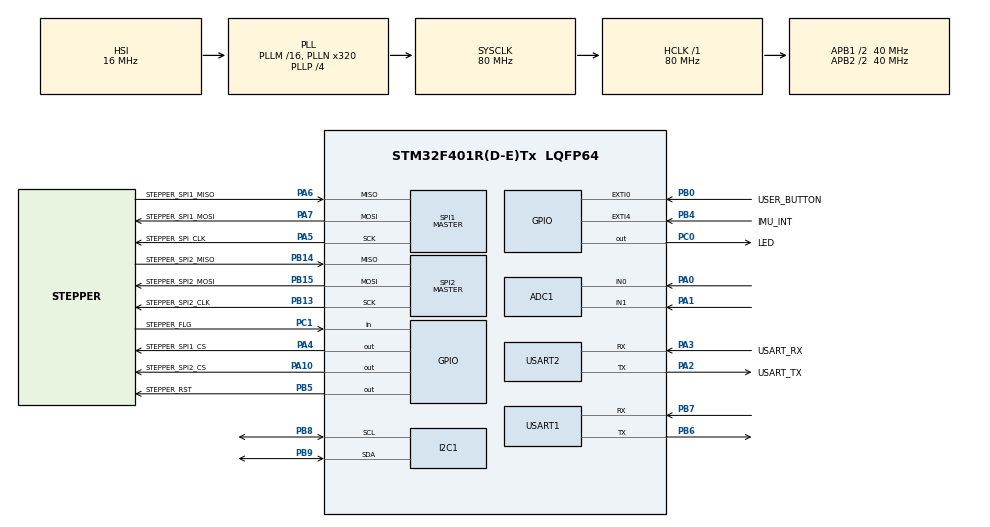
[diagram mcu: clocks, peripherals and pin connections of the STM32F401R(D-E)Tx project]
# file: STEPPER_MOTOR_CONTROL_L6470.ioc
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ADC1.Channel-1\#ChannelRegularConversion=ADC_CHANNEL_0
ADC1.Channel-2\#ChannelInjectedConversion=ADC_CHANNEL_0
ADC1.Channel-4\#ChannelInjectedConversion=ADC_CHANNEL_1
ADC1.Channel-6\#ChannelRegularConversion=ADC_CHANNEL_1
ADC1.ContinuousConvMode=ENABLE
ADC1.DMAContinuousRequests=ENABLE
ADC1.EOCSelection=ADC_EOC_SEQ_CONV
ADC1.InjNumberOfConversion=2
ADC1.InjectedOffset-2\#ChannelInjectedConversion=0
ADC1.InjectedOffset-4\#ChannelInjectedConversion=0
ADC1.InjectedRank-2\#ChannelInjectedConversion=1
ADC1.InjectedRank-4\#ChannelInjectedConversion=2
ADC1.NbrOfConversion=2
ADC1.NbrOfConversionFlag=1
ADC1.Rank-1\#ChannelRegularConversion=1
ADC1.Rank-6\#ChannelRegularConversion=2
ADC1.SamplingTime-1\#ChannelRegularConversion=ADC_SAMPLETIME_3CYCLES
ADC1.SamplingTime-2\#ChannelInjectedConversion=ADC_SAMPLETIME_3CYCLES
ADC1.SamplingTime-4\#ChannelInjectedConversion=ADC_SAMPLETIME_3CYCLES
ADC1.SamplingTime-6\#ChannelRegularConversion=ADC_SAMPLETIME_3CYCLES
ADC1.master=1
Dma.ADC1.4.Direction=DMA_PERIPH_TO_MEMORY
Dma.ADC1.4.FIFOMode=DMA_FIFOMODE_ENABLE
Dma.ADC1.4.FIFOThreshold=DMA_FIFO_THRESHOLD_FULL
Dma.ADC1.4.Instance=DMA2_Stream4
Dma.ADC1.4.MemBurst=DMA_MBURST_SINGLE
Dma.ADC1.4.MemDataAlignment=DMA_MDATAALIGN_HALFWORD
Dma.ADC1.4.MemInc=DMA_MINC_ENABLE
Dma.ADC1.4.Mode=DMA_CIRCULAR
Dma.ADC1.4.PeriphBurst=DMA_PBURST_SINGLE
Dma.ADC1.4.PeriphDataAlignment=DMA_PDATAALIGN_HALFWORD
Dma.ADC1.4.PeriphInc=DMA_PINC_DISABLE
Dma.ADC1.4.Priority=DMA_PRIORITY_HIGH
Dma.Request0=SPI1_RX
Dma.Request1=SPI1_TX
Dma.Request2=SPI2_RX
Dma.Request3=SPI2_TX
Dma.Request4=ADC1
Dma.SPI1_RX.0.Direction=DMA_PERIPH_TO_MEMORY
Dma.SPI1_RX.0.FIFOMode=DMA_FIFOMODE_DISABLE
Dma.SPI1_RX.0.Instance=DMA2_Stream0
Dma.SPI1_RX.0.MemDataAlignment=DMA_MDATAALIGN_BYTE
Dma.SPI1_RX.0.MemInc=DMA_MINC_ENABLE
Dma.SPI1_RX.0.Mode=DMA_NORMAL
Dma.SPI1_RX.0.PeriphDataAlignment=DMA_PDATAALIGN_BYTE
Dma.SPI1_RX.0.PeriphInc=DMA_PINC_DISABLE
Dma.SPI1_RX.0.Priority=DMA_PRIORITY_LOW
Dma.SPI1_TX.1.Direction=DMA_MEMORY_TO_PERIPH
Dma.SPI1_TX.1.FIFOMode=DMA_FIFOMODE_DISABLE
Dma.SPI1_TX.1.Instance=DMA2_Stream3
Dma.SPI1_TX.1.MemDataAlignment=DMA_MDATAALIGN_BYTE
Dma.SPI1_TX.1.MemInc=DMA_MINC_ENABLE
Dma.SPI1_TX.1.Mode=DMA_NORMAL
Dma.SPI1_TX.1.PeriphDataAlignment=DMA_PDATAALIGN_BYTE
Dma.SPI1_TX.1.PeriphInc=DMA_PINC_DISABLE
Dma.SPI1_TX.1.Priority=DMA_PRIORITY_LOW
Dma.SPI2_RX.2.Direction=DMA_PERIPH_TO_MEMORY
Dma.SPI2_RX.2.FIFOMode=DMA_FIFOMODE_DISABLE
Dma.SPI2_RX.2.Instance=DMA1_Stream3
Dma.SPI2_RX.2.MemDataAlignment=DMA_MDATAALIGN_BYTE
Dma.SPI2_RX.2.MemInc=DMA_MINC_ENABLE
Dma.SPI2_RX.2.Mode=DMA_NORMAL
Dma.SPI2_RX.2.PeriphDataAlignment=DMA_PDATAALIGN_BYTE
Dma.SPI2_RX.2.PeriphInc=DMA_PINC_DISABLE
Dma.SPI2_RX.2.Priority=DMA_PRIORITY_LOW
Dma.SPI2_TX.3.Direction=DMA_MEMORY_TO_PERIPH
Dma.SPI2_TX.3.FIFOMode=DMA_FIFOMODE_DISABLE
Dma.SPI2_TX.3.Instance=DMA1_Stream4
Dma.SPI2_TX.3.MemDataAlignment=DMA_MDATAALIGN_BYTE
Dma.SPI2_TX.3.MemInc=DMA_MINC_ENABLE
Dma.SPI2_TX.3.Mode=DMA_NORMAL
Dma.SPI2_TX.3.PeriphDataAlignment=DMA_PDATAALIGN_BYTE
Dma.SPI2_TX.3.PeriphInc=DMA_PINC_DISABLE
Dma.SPI2_TX.3.Priority=DMA_PRIORITY_LOW
I2C1.I2C_Mode=I2C_Standard
Mcu.Family=STM32F4
Mcu.Name=STM32F401R(D-E)Tx
Mcu.Package=LQFP64
Mcu.UserConstants=ENCODER_RESOLUTION,2399
NVIC.ADC_IRQn=true\:0\:0\:false\:false\:true\:true\:true\:true
NVIC.DMA1_Stream3_IRQn=true\:0\:0\:false\:false\:true\:false\:true\:true
NVIC.DMA1_Stream4_IRQn=true\:0\:0\:false\:false\:true\:false\:true\:true
NVIC.DMA2_Stream0_IRQn=true\:0\:0\:false\:false\:true\:false\:true\:true
NVIC.DMA2_Stream3_IRQn=true\:0\:0\:false\:false\:true\:false\:true\:true
NVIC.DMA2_Stream4_IRQn=true\:0\:0\:false\:false\:true\:false\:true\:true
NVIC.EXTI0_IRQn=true\:0\:0\:false\:false\:true\:true\:true\:true
NVIC.EXTI4_IRQn=true\:0\:0\:false\:false\:true\:true\:true\:true
NVIC.I2C1_EV_IRQn=true\:0\:0\:false\:false\:true\:true\:true\:true
NVIC.PriorityGroup=NVIC_PRIORITYGROUP_0
NVIC.SPI1_IRQn=true\:0\:0\:false\:false\:true\:true\:true\:true
NVIC.SPI2_IRQn=true\:0\:0\:false\:false\:true\:true\:true\:true
NVIC.USART2_IRQn=true\:0\:0\:false\:false\:true\:true\:true\:true
PA0-WKUP.Signal=ADCx_IN0
PA1.Signal=ADCx_IN1
PA10.GPIO_Label=STEPPER_SPI2_CS
PA10.Signal=GPIO_Output
PA13.GPIO_Label=TMS
PA13.Mode=Serial_Wire
PA13.Signal=SYS_JTMS-SWDIO
PA14.GPIO_Label=TCK
PA14.Mode=Serial_Wire
PA14.Signal=SYS_JTCK-SWCLK
PA2.GPIO_Label=USART_TX
PA2.GPIO_Mode=GPIO_MODE_AF_PP
PA2.GPIO_PuPd=GPIO_NOPULL
PA2.GPIO_Speed=GPIO_SPEED_FREQ_LOW
PA2.Mode=Asynchronous
PA2.Signal=USART2_TX
PA3.GPIO_Label=USART_RX
PA3.GPIO_Mode=GPIO_MODE_AF_PP
PA3.GPIO_PuPd=GPIO_NOPULL
PA3.GPIO_Speed=GPIO_SPEED_FREQ_LOW
PA3.Mode=Asynchronous
PA3.Signal=USART2_RX
PA4.GPIO_Label=STEPPER_SPI1_CS
PA4.Signal=GPIO_Output
PA5.GPIO_Label=STEPPER_SPI_CLK
PA5.Mode=Full_Duplex_Master
PA5.Signal=SPI1_SCK
PA6.GPIO_Label=STEPPER_SPI1_MISO
PA6.Mode=Full_Duplex_Master
PA6.Signal=SPI1_MISO
PA7.GPIO_Label=STEPPER_SPI1_MOSI
PA7.Mode=Full_Duplex_Master
PA7.Signal=SPI1_MOSI
PB0.GPIO_Label=USER_BUTTON
PB0.GPIO_ModeDefaultEXTI=GPIO_MODE_IT_RISING
PB0.GPIO_PuPd=GPIO_PULLDOWN
PB0.Signal=GPXTI0
PB13.GPIO_Label=STEPPER_SPI2_CLK
PB13.Mode=Full_Duplex_Master
PB13.Signal=SPI2_SCK
PB14.GPIO_Label=STEPPER_SPI2_MISO
PB14.Mode=Full_Duplex_Master
PB14.Signal=SPI2_MISO
PB15.GPIO_Label=STEPPER_SPI2_MOSI
PB15.Mode=Full_Duplex_Master
PB15.Signal=SPI2_MOSI
PB3.GPIO_Label=SWO
PB3.Signal=SYS_JTDO-SWO
PB4.GPIO_Label=IMU_INT
PB4.Signal=GPXTI4
PB5.GPIO_Label=STEPPER_RST
PB5.Signal=GPIO_Output
PB6.Mode=Asynchronous
PB6.Signal=USART1_TX
PB7.Mode=Asynchronous
PB7.Signal=USART1_RX
PB8.Mode=I2C
PB8.Signal=I2C1_SCL
PB9.Mode=I2C
PB9.Signal=I2C1_SDA
PC0.GPIO_Label=LED
PC0.PinState=GPIO_PIN_RESET
PC0.Signal=GPIO_Output
PC1.GPIO_Label=STEPPER_FLG
PC1.Signal=GPIO_Input
PC14-OSC32_IN.Signal=RCC_OSC32_IN
PC15-OSC32_OUT.Signal=RCC_OSC32_OUT
PH0\ -\ OSC_IN.Signal=RCC_OSC_IN
PH1\ -\ OSC_OUT.Signal=RCC_OSC_OUT
ProjectManager.HeapSize=0x200
ProjectManager.StackSize=0x400
ProjectManager.TargetToolchain=STM32CubeIDE
RCC.48MHZClocksFreq_Value=45714285.71428572
RCC.AHBFreq_Value=80000000
RCC.APB1CLKDivider=RCC_HCLK_DIV2
RCC.APB1Freq_Value=40000000
RCC.APB1TimFreq_Value=80000000
RCC.APB2CLKDivider=RCC_HCLK_DIV2
RCC.APB2Freq_Value=40000000
RCC.APB2TimFreq_Value=80000000
RCC.CortexFreq_Value=80000000
RCC.HCLKFreq_Value=80000000
RCC.HSE_VALUE=8000000
RCC.HSI_VALUE=16000000
RCC.LSE_VALUE=32768
RCC.PLLN=320
RCC.PLLP=RCC_PLLP_DIV4
RCC.PLLQ=7
RCC.SYSCLKFreq_VALUE=80000000
RCC.SYSCLKSource=RCC_SYSCLKSOURCE_PLLCLK
RCC.VCOOutputFreq_Value=320000000
SH.ADCx_IN0.0=ADC1_IN0,IN0
SH.ADCx_IN1.0=ADC1_IN1,IN1
SPI1.BaudRatePrescaler=SPI_BAUDRATEPRESCALER_16
SPI1.CLKPhase=SPI_PHASE_2EDGE
SPI1.CLKPolarity=SPI_POLARITY_HIGH
SPI1.Direction=SPI_DIRECTION_2LINES
SPI1.Mode=SPI_MODE_MASTER
SPI1.VirtualType=VM_MASTER
SPI2.BaudRatePrescaler=SPI_BAUDRATEPRESCALER_16
SPI2.CLKPhase=SPI_PHASE_2EDGE
SPI2.CLKPolarity=SPI_POLARITY_HIGH
SPI2.Direction=SPI_DIRECTION_2LINES
SPI2.Mode=SPI_MODE_MASTER
SPI2.VirtualType=VM_MASTER
USART1.VirtualMode=VM_ASYNC
USART2.VirtualMode=VM_ASYNC
board=NUCLEO-F401RE

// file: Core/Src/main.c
/* USER CODE BEGIN Header */
/**
  ******************************************************************************
  * @file           : main.c
  * @brief          : Main program body
  ******************************************************************************
  * @attention
  *
  * Copyright (c) 2024 Jake Price.
  * All rights reserved.

  *
  ******************************************************************************
  */

// ======================== NOTES ===========================//

// -> Orientation of robot is:
// -> +y to the front (side with battery plugs)
// -> +x clockwise 90 degrees from +y

// ==========================================================//

// Use speeds 0 - 10PI
// NOTE: 10 PI is the highest achievable speed with one motor (5rps)

// MASTER TODO:
// TODO: Implement DMA
// TODO: Replace all instances of pot with hall
// TODO: General codebase cleanup, go over all todos

// --------------------------------------------------- FROM MATLAB ------------------------------------------------------------ //
//%% System Parameters
//L = 0.8382; %% The threaded section of rod, 3 normal sections of rod, plu the bob section is 33 inches or about 0.8382m
//g = 9.81; %% Gravity
//M  = 1.775; %% the mass of the entire robot body with batteries and pendulum guard is 1.775 kg
//m_r = 0.06;  %% Each section of pendulum rod is 0.015 kg, se we are using 4 sections -> 0.060 kg
//m_b = 0.056; %% The mass of the bob is about 0.56kg
//%b = 0.1; %% WORKS
//b = 0.001;
//mu = 0.3; %% Coefficient of Friction for Omni Wheels

//%% PID gains
//%Kp = 6500; Kd = 150; Ki = 15; %% WORKS
//%% Kp = 40; Kd = 0; Ki = 5; 	 %% WORKS
//%% Kp = 30; Kd = 1; Ki = 5; 	 %% WORKS
//%% Kp = 21; Kd = 0; Ki = 2; 	 %% WORKS -- BEST
//Kp = 30; Kd = 0; Ki = 2; 		 %% WORKS -- BEST

// ---------------------------------------------------------------------------------------------------------------------------- //
/* USER CODE END Header */
#include "main.h"

/* USER CODE BEGIN Includes */
#include "l6470.h"
#include <stdio.h>
#include "stm32f4xx_it.h"
#include "stdint.h"
#include "stdbool.h"
#include "math.h"
#include "intfc_imu.h"
/* USER CODE END Includes */

/* USER CODE BEGIN PTD */

void SystemClock_Config(void);
static void MX_GPIO_Init(void);
static void MX_DMA_Init(void);
static void MX_SPI1_Init(void);
static void MX_SPI2_Init(void);
static void MX_USART2_UART_Init(void);
static void MX_ADC1_Init(void);
static void MX_USART1_UART_Init(void);
static void MX_I2C1_Init(void);
void forward_motion(void);
void backward_motion(void);
void left_motion(void);
void right_motion(void);
void l6470_get_param_chip_1(MotorSetTypedef* stepper_motor, uint8_t param, uint8_t length);
void l6470_get_param_chip_2(MotorSetTypedef* stepper_motor, uint8_t param, uint8_t length);
void l6470_sync_daisy_chain(MotorSetTypedef *stepper_motor);

/* USER CODE END PTD */

/* USER CODE BEGIN PD */

// TODO: Tune these PID parameters
#define K_P_X 				75.0f // 41.0f // Proportional constant for x-dir
#define K_P_Y 				75.0f // 41.0f // proportional constant for y-dir
#define K_I_X 				2.0f  //2.0f // 0.01f // Integral constant for x-dir
#define K_I_Y 				2.0f  // 2.0f //0.01f // Integral constant for y-dir
#define K_D_X 				0.0f  // 5.0f
#define K_D_Y 				0.0f  // 5.0f

// TODO: Tune the max vel
#define MAX_CART_VEL 		0.68f //0.525f // 0.9f  // m/s, tune for safety (v = rw => v m/s = (0.03m) * (10)*PI = 0.94 m/s)
#define MIN_CART_VEL 	   -0.68f // -0.525f //-0.9f

// TODO: Tune the max integral???
#define MAX_INTEGRAL  		4.5f // anti-windup cap on integral, tune
#define MIN_INTEGRAL 	   -4.5f

// TODO: TUNE the DEADBAND
  #define DEADBAND 	  		(0.25f * M_PI/180.0f)  // 0.5 degree for the dead band (no integral)
// #define DEADBAND 	  		(0.5f * M_PI/180.0f)  // 1.0 degree for the dead band (no integral)

// TODO: Tune this
#define CONTROL_LOOP_TIME			50 // 30 // 10 // 20

#define POT_FILTER_SAMPLE_TIME_MS	1
#define POT_AVG_WINDOW_SIZE			10 // Start with 10, then try 20

//////////////////////////////////////////////////////////////////////////////////

// ======================== SLIP FORCE ESTIMATION ======================== //
// Effective slip-related force loss:
// F_loss = M * (commanded_acceleration - measured_acceleration)

#define SLIP_EST_MASS_KG             1.778f
#define GRAVITY_MPS2                 9.80665f
#define IMU_ACCEL_COUNTS_PER_G       16384.0f

// Match the signs to your existing IMU test convention.
// Your old test code used xg = -(ax / 16384.0f), yg = (ay / 16384.0f).
#define IMU_X_SIGN                   (-1.0f)
#define IMU_Y_SIGN                   ( 1.0f)

// Measure these while the robot is sitting still and level.
// Biases are in signed g-units after applying IMU_X_SIGN and IMU_Y_SIGN.
#define IMU_ACCEL_X_BIAS_G           0.0f
#define IMU_ACCEL_Y_BIAS_G           0.0f

// 0.0 = no new data accepted, 1.0 = no filtering.
#define SLIP_ACCEL_FILTER_ALPHA      0.25f

// 50 ms loop = 20 samples/second.
// 256 samples gives about 12.8 seconds of data.
#define SLIP_LOG_SIZE                256

#define BUTTON_PRESSED_STATE         GPIO_PIN_SET
#define BUTTON_DEBOUNCE_MS           50
#define BUTTON_LONG_HOLD_MS          5000

#define FALL_ANGLE_RAD               (20.0f * M_PI / 180.0f)
#define SLIP_AUTO_STOP_ON_FALL       1

//////////////////////////////////////////////////////////////////

/* USER CODE END PD */

ADC_HandleTypeDef hadc1;
DMA_HandleTypeDef hdma_adc1;

I2C_HandleTypeDef hi2c1;

SPI_HandleTypeDef hspi1;
SPI_HandleTypeDef hspi2;
DMA_HandleTypeDef hdma_spi1_rx;
DMA_HandleTypeDef hdma_spi1_tx;
DMA_HandleTypeDef hdma_spi2_rx;
DMA_HandleTypeDef hdma_spi2_tx;

UART_HandleTypeDef huart1;
UART_HandleTypeDef huart2;

/* USER CODE BEGIN PV */

static uint32_t currentTime;  					// Get current system time
static uint32_t lastPressTime 		= 0; 		// Debounce for GPIO pushbutton
static bool buttonFlag 				= false;	// flag to START motors on button press interrupt
static bool stopNow 				= false;	// flag to SHUT OFF motors on button press interrupt
static bool prepareStop 			= false;	// Debounce for shutoff stopNow

float vel_temp_1[2];							// motor 2, 3
float vel_temp_2[2];							// motor 1 (second element, had to troubleshoot)
float pot_Y_voltage 				= 0.0f;     // Y POT VOLTAGE
float pot_X_voltage 				= 0.0f;		// X POT VOLTAGE

// JACOBIAN and INVERSE JACOBIAN for the transformation matrix mapping x and y to the three wheels (pi / 3) [120 deg] offset
const float J[3][3] 	= {{-1, 0.5, 0.5}, {0, 0.866, -0.866}, {-0.333, -0.333, -0.333}};
const float J_Inv[3][3] = {{0.667, 0, 1}, {-0.333, 0.577, 1}, {-0.333, -0.577, 1}};

uint16_t adc_buffer[2];  						// NOTE: adc_buffer[0] = Z-X pot, adc_buffer[1] = Z-Y pot
int16_t ax, ay, az;  							// IMU accel variables
int16_t wx, wy, wz;								// IMU gyro variables

typedef struct controlVariables 				// PID Control System Variables
{
	float prevCommandedCartVelocityX;
	float prevCommandedCartVelocityY;

	float curCommandedCartVelocityX;
	float curCommandedCartVelocityY;

	float prevThetaX;
	float prevThetaY;

	float curThetaX;
	float curThetaY;

	// Can also include Theta_dotX/Y for Derivative control

	float prevInputU_X;
	float prevInputU_Y;

	float curInputU_X;
	float curInputU_Y;

	float integralX;
	float integralY;

} controlVariables;

controlVariables myControlVariables = {0};

///////////////////////////////////////////////////////////////////

typedef struct slipEstimateVariables
{
    float cmdAccelX_mps2;
    float cmdAccelY_mps2;

    float imuAccelX_mps2;
    float imuAccelY_mps2;

    float filtImuAccelX_mps2;
    float filtImuAccelY_mps2;

    float slipAccelLossX_mps2;
    float slipAccelLossY_mps2;

    float slipForceLossX_N;
    float slipForceLossY_N;

    bool imuValid;
    uint32_t sampleCount;

} slipEstimateVariables;

typedef struct slipLogSample
{
    uint32_t time_ms;

    float dt_s;

    float thetaX_rad;
    float thetaY_rad;

    float cmdVelX_mps;
    float cmdVelY_mps;

    float cmdAccelX_mps2;
    float cmdAccelY_mps2;

    float imuAccelX_mps2;
    float imuAccelY_mps2;

    float slipAccelLossX_mps2;
    float slipAccelLossY_mps2;

    float slipForceLossX_N;
    float slipForceLossY_N;

} slipLogSample;

slipEstimateVariables mySlipEstimate = {0};

static slipLogSample slipLog[SLIP_LOG_SIZE] = {0};
static uint16_t slipLogIndex = 0;
static bool slipLogWrapped = false;
static bool slipLoggingActive = false;
static bool slipLogReadyToDump = false;

static bool userButtonWasPressed = false;
static bool userButtonLongHandled = false;
static uint32_t userButtonPressStart_ms = 0;

/////////////////////////////////////////////////////////

MotorSetTypedef motor_set_1 = { // TODO: Finish initializing the structs

		.identifier     = 1,
		.gpio_rst_port  = STEPPER_RST_GPIO_Port,
		.gpio_rst_pin 	= STEPPER_RST_Pin,
		.gpio_cs_port 	= STEPPER_SPI1_CS_GPIO_Port,
		.gpio_cs_pin 	= STEPPER_SPI1_CS_Pin,
		.hspi_l6470 	= &hspi1,
		.num_motors 	= 2,
		.spi_dma_busy 	= 0,

};

MotorSetTypedef motor_set_2 = {

		.identifier     = 2,
		.gpio_rst_port 	= STEPPER_RST_GPIO_Port,
		.gpio_rst_pin 	= STEPPER_RST_Pin,
		.gpio_cs_port 	= STEPPER_SPI2_CS_GPIO_Port,
		.gpio_cs_pin 	= STEPPER_SPI2_CS_Pin,
		.hspi_l6470 	= &hspi2,
		.num_motors		= 2, // This has to be two in order to get the motor 1 to work
		.spi_dma_busy 	= 0,

};

float scale 			= 0.0f;
float theta_dotX 		= 0.0f;
float theta_dotY 		= 0.0f;
float dt 				= 0.0f;

uint16_t  m1_status = 0; // L6470 #1
uint16_t  m2_status = 0; // L6470 #2
uint16_t  m3_status = 0; // L6470 #3
uint16_t  m4_status = 0; // L6470 #4

static uint32_t last = 0;
static uint32_t now  = 0;

static float pot_x_buf[POT_AVG_WINDOW_SIZE] = {0};
static float pot_y_buf[POT_AVG_WINDOW_SIZE] = {0};

static float pot_x_sum 				 		= 0.0f;
static float pot_y_sum 				 		= 0.0f;

static uint16_t pot_buf_index 		 		= 0;
static uint16_t pot_sample_count 	 		= 0;

static bool pot_filter_wrapped 		 		= false;
static uint32_t pot_filter_overwrite_count  = 0;

static uint32_t last_pot_sample_time = 0;

/* USER CODE END PV */

void SystemClock_Config(void);
static void MX_GPIO_Init(void);
static void MX_DMA_Init(void);
static void MX_SPI1_Init(void);
static void MX_SPI2_Init(void);
static void MX_USART2_UART_Init(void);
static void MX_ADC1_Init(void);
static void MX_USART1_UART_Init(void);
static void MX_I2C1_Init(void);

/* USER CODE BEGIN 0 */

// Redirect printf() to USART1
int __io_putchar(int ch) // Use UART 1 for FTDI cable
{
    HAL_UART_Transmit(&huart1, (uint8_t *)&ch, 1, HAL_MAX_DELAY);
    return ch;
}

void HAL_GPIO_EXTI_Callback(uint16_t GPIO_Pin)
{
    if(GPIO_Pin == USER_BUTTON_Pin)
    {
        currentTime = HAL_GetTick();  // Get current system time

        // Check if the debounce period has passed
        if((currentTime - lastPressTime) >= DEBOUNCE_DELAY)
        {
            lastPressTime = currentTime; // Update last press time

            if(prepareStop)
            {
            	stopNow = true;
            }

            prepareStop = true;
            buttonFlag = buttonFlag ^ 1;
        }
    }
}

// TODO: Do we use this?
void HAL_SPI_TxRxCpltCallback(SPI_HandleTypeDef * hspi)
{
	if(hspi == motor_set_1.hspi_l6470)
	{
		//    	if(PRINT_OUTPUT_ENABLED)
		//    	{
		// 			printf("MOTOR SET 1 SPI COMPLETE\n\r");
		//		}
	}

	else if(hspi == motor_set_2.hspi_l6470)
	{
//    	if(PRINT_OUTPUT_ENABLED)
//    	{
    		//printf("MOTOR SET 2 SPI COMPLETE\n\r");
//    	}
	}
}

void omni_drive(float Vx, float Vy, float omega)
{

	float V_body[3] 	= {Vx, Vy, omega}; 	// Body velocities
	float v_wheel[3] 	= {0}; 				// Wheel linear velocities
	float w[3] 			= {0}; 				// Wheel angular velocities

	// Matrix multiplication
	for(int i = 0; i < 3; i++)
	{
		v_wheel[i] = 0.0f;
		for(int j = 0; j < 3; j++)
		{
			v_wheel[i] += J_Inv[i][j] * V_body[j];
		}
	}

	// --- Linear -> Angular velocities ---
	for(int j = 0; j < 3; j++)
	{
		w[j] = v_wheel[j] / WHEEL_RADIUS;
	}

	// Wheel mapping to motor sets
	float motor_set_1_speed[2] = {w[1], w[2]}; // Motor 3 and motor 1 on motor_set_1
	float motor_set_2_speed[2] = {w[0], 0};    // motor 2 on motor_set_2

	// TODO: Place BUSY check here
	// Transmit velocities to motor driver
	l6470_set_vel(&motor_set_1, motor_set_1_speed);
	l6470_set_vel(&motor_set_2, motor_set_2_speed);

}

// Map voltages to degrees using linearization
static inline float map_Y_VoltageToAngle(float v_centered)
{
	return v_centered * Y_RAD_PER_VOLT;
}

// Map voltages to degrees using linearization
static inline float map_X_VoltageToAngle(float v_centered)
{
	return v_centered * X_RAD_PER_VOLT;
}

static inline void update_pot_background_average(void)
{
	uint32_t t = HAL_GetTick();

	if((t - last_pot_sample_time) >= POT_FILTER_SAMPLE_TIME_MS)
	{
		last_pot_sample_time = t;

		float raw_x = (3.3f * adc_buffer[1]) / 4095.0f;
		float raw_y = (3.3f * adc_buffer[0]) / 4095.0f;

		// If buffer is full, remove oldest sample from sum before overwriting
		if(pot_sample_count >= POT_AVG_WINDOW_SIZE)
		{
			// remove oldest sample from sum
			pot_x_sum -= pot_x_buf[pot_buf_index];
			pot_y_sum -= pot_y_buf[pot_buf_index];

			pot_filter_wrapped = true;
			pot_filter_overwrite_count++;

		}
		else
		{
			pot_sample_count++;
		}

		// store newest sample in buffer
		pot_x_buf[pot_buf_index] = raw_x;
		pot_y_buf[pot_buf_index] = raw_y;

		// Add newest sample to sum
		pot_x_sum += raw_x;
		pot_y_sum += raw_y;

		pot_buf_index++;

		if(pot_buf_index >= POT_AVG_WINDOW_SIZE)
		{
			pot_buf_index = 0;
		}
	}
}

/* USER CODE END 0 */

int main(void)
{

  /* MCU Configuration--------------------------------------------------------*/

  /* Reset of all peripherals, Initializes the Flash interface and the Systick. */
  HAL_Init();

  /* Configure the system clock */
  SystemClock_Config();

  /* Initialize all configured peripherals */
  MX_GPIO_Init();
  MX_DMA_Init();
  MX_SPI1_Init();
  MX_SPI2_Init();
  MX_USART2_UART_Init();
  MX_ADC1_Init();
  MX_USART1_UART_Init();
  MX_I2C1_Init();
  /* USER CODE BEGIN 2 */

	 // ======================================= ADC_DMA_INIT ============================== //
  	 HAL_ADC_Start_DMA(&hadc1, (uint32_t*)adc_buffer, 2);

  	 // ======================================= IMU_INIT ============================== //
	 uint8_t retVal = initializeIMU();
	 if(retVal == HAL_OK)
	 {
		    if(PRINT_OUTPUT_ENABLED)
		    {
				 printf("\n\rIMU initialized!\n\r");
		    }
	 }
	 else
	 {
		    if(PRINT_OUTPUT_ENABLED)
		    {
				 printf("IMU FAILED to initialize, retVal: %d\n\r", retVal);
		    }
	 }

	 last = HAL_GetTick();

	 // ======================================= L6470_INIT ============================== //

	 // Reset L6470s (shared line)
	 HAL_GPIO_WritePin(STEPPER_RST_GPIO_Port, STEPPER_RST_Pin, GPIO_PIN_RESET);
	 HAL_Delay(100);
	 HAL_GPIO_WritePin(STEPPER_RST_GPIO_Port, STEPPER_RST_Pin, GPIO_PIN_SET);
	 HAL_Delay(100);

	 HAL_Delay(1000);

  	 // ***NOW*** do sync + init
  	 l6470_sync_daisy_chain(&motor_set_1);
  	 HAL_Delay(100);
  	 l6470_sync_daisy_chain(&motor_set_2);
  	 HAL_Delay(100);

  	 uint16_t m1_status_1, m2_status_1;
  	 l6470_get_status(&motor_set_1, &m1_status_1, &m2_status_1);
  	 HAL_Delay(100);

  	 uint16_t m1_status_2, m2_status_2;
  	 l6470_get_status(&motor_set_2, &m1_status_2, &m2_status_2);
  	 HAL_Delay(100);

  	 L6470_Init_IHM02A1_1(&motor_set_1);
  	 HAL_Delay(100);

  	 L6470_Init_IHM02A1_2(&motor_set_2);
  	 HAL_Delay(100);

  	 // TODO: Check to see if step loss is the issue
  	 uint8_t alarm = 0xCF; // disable STEP_LOSS_A/B alarms
  	 l6470_set_param_chip_1(&motor_set_1, ALARM_EN, &alarm, 1);
  	 l6470_set_param_chip_1(&motor_set_2, ALARM_EN, &alarm, 1);

 	 l6470_dump_params_chip1(&motor_set_1);
 	 HAL_Delay(100);

 	 l6470_dump_params_chip2(&motor_set_2);
  	 HAL_Delay(100);

   	 l6470_get_status(&motor_set_1, &m1_status_1, &m2_status_1);
   	 HAL_Delay(100);

  	 l6470_get_status(&motor_set_2, &m1_status_2, &m2_status_2);
  	 HAL_Delay(100);

  	 //  	// ======================================== MOTOR TEST ================================ //
// 	// Wheel mapping to motor sets
// 	float motor_set_1_speed[2] = {3.0f, 3.0f}; // Motor 3 and motor 1 on motor_set_1
//// 	float motor_set_2_speed[2] = {0, w[0]};    // motor 2 on motor_set_2
//
// 	// TODO: Place BUSY check here
// 	// Transmit velocities to motor driver
// 	l6470_set_vel(&motor_set_1, motor_set_1_speed);
//
// 	HAL_Delay(3000);
//
//	l6470_soft_stop(&motor_set_1);
//	l6470_Hard_Stop(&motor_set_1);

// 	l6470_set_vel(&motor_set_2, motor_set_2_speed);

  	 //================================================================================================= //

  /* USER CODE END 2 */

  /* Infinite loop */
  /* USER CODE BEGIN WHILE */
  while (1)
  {

	  now = HAL_GetTick();

	  update_pot_background_average();

	  if(stopNow)
	  {

		  stopNow = false;

		  l6470_soft_stop(&motor_set_1);
		  l6470_soft_stop(&motor_set_2);

		  l6470_Hard_Stop(&motor_set_1);
		  l6470_Hard_Stop(&motor_set_2);

		  vel_temp_1[0]  								= 0.0f;	// motor 2, 3
		  vel_temp_1[1]  								= 0.0f;	// motor 2, 3
		  vel_temp_2[0]  								= 0.0f;	// motor 1 (second element, had to troubleshoot)
		  vel_temp_2[1]  								= 0.0f;	// motor 1 (second element, had to troubleshoot)
		  pot_Y_voltage  								= 0.0f; // Y POT VOLTAGE
		  pot_X_voltage  								= 0.0f; // X POT VOLTAGE

		  myControlVariables.curCommandedCartVelocityX 	= 0;
		  myControlVariables.curCommandedCartVelocityY 	= 0;
		  myControlVariables.curInputU_X 				= 0.0f;
		  myControlVariables.curInputU_Y 				= 0.0f;
		  myControlVariables.curThetaX 					= 0.0f;
		  myControlVariables.curThetaY 					= 0.0f;
		  myControlVariables.integralX 					= 0.0f;
		  myControlVariables.integralY 					= 0.0f;
		  myControlVariables.prevCommandedCartVelocityX = 0.0f;
		  myControlVariables.prevCommandedCartVelocityY = 0.0f;
		  myControlVariables.prevInputU_X 				= 0.0f;
		  myControlVariables.prevInputU_Y 				= 0.0f;
		  myControlVariables.prevThetaX					= 0.0f;
		  myControlVariables.prevThetaY 				= 0.0f;

	  }

	  if(buttonFlag == true)
	  {

		  if((now - last) >= CONTROL_LOOP_TIME)
		  {

			  dt = (now - last) * 0.001f;
			  last = now;

			  //////////////////////////////////////////////////////////////////////

//			  if(IMU_ReadAccel(&ax, &ay, &az) == 0)
//			  {
//				  // Have to multiply ax by -1 to transform coordinate system to be equal to the hall effect sensor joystick orientation
//				  float xg = -(ax / 16384.0f); // 0.055f is the offset to
//
//				  // TODO: May have to add 0.017 instead of subtracting
//				  float yg = (ay / 16384.0f); // 0.017f is the offset to make y level
//				  float zg = -(az / 16384.0f);
//
////				  printf("\n\r\n\rAX: %.2f,\n\r AY: %.2f,\n\r AZ %.2f\n\r", xg, yg, zg);
////				  HAL_Delay(200);
//			  }

//			  if(IMU_ReadGyro(&wx, &wy, &wz) == 0)
//			  {
//				  float x_dps = wx / 131.0f;
//				  float y_dps = wy / 131.0f;
//				  float z_dps = wz / 131.0f;
//
//				  printf("WX: %.2f, WY: %.2f, WZ %.2f\n\r", x_dps, y_dps, z_dps);
//				  HAL_Delay(5);
//			  }

			  /////////////////////////////////////////////////////////////////////

			  if(pot_sample_count > 0)
			  {
				  pot_X_voltage = pot_x_sum / pot_sample_count;
				  pot_Y_voltage = pot_y_sum / pot_sample_count;
			  }
			  else
			  {
				  pot_X_voltage = (3.3f * adc_buffer[1]) / 4095.0f;
				  pot_Y_voltage = (3.3f * adc_buffer[0]) / 4095.0f;
			  }
//			  pot_Y_voltage = (3.3f * adc_buffer[0]) / 4095.0f; // Y - axis (forward/backward) angle
//			  pot_X_voltage = (3.3f * adc_buffer[1]) / 4095.0f; // X -Axis (Left/Right) angle
////
//			  printf("(RAW: VOLTAGE): Z-X: %.3f V\n\r", pot_X_voltage);
//			  printf("(RAW: VOLTAGE): Z-Y: %.3f V\n\r", pot_Y_voltage);
//			  HAL_Delay(100);

			  pot_X_voltage -= POT_X_CENTER_V; // offset
			  pot_Y_voltage -= POT_Y_CENTER_V; // offset

//			  printf("(AFTER: VOLTAGE): Z-X: %.3f V\n\r", pot_X_voltage);
//			  printf("(AFTER: VOLTAGE): Z-Y: %.3f V\n\r", pot_Y_voltage);

			  // Parse X and Y voltages and convert them to angles asymmetrically, then to x,y values, then to Vx, Vy valuse
			  myControlVariables.curThetaX = map_X_VoltageToAngle(pot_X_voltage);
			  myControlVariables.curThetaY = map_Y_VoltageToAngle(pot_Y_voltage);

			  ////////////////////////////////////////////////////////////////////////////////////////////////////////////////////////////////////////////////////////////////
			  myControlVariables.curThetaY = -myControlVariables.curThetaY; // Need to take negative of angle due to orientation. Or can change the rotation matrix ???
			  ////////////////////////////////////////////////////////////////////////////////////////////////////////////////////////////////////////////////////////////////

//			  printf("(ANGLE): Z-X: %.3f radians\n\r", myControlVariables.curThetaX);
//			  printf("(ANGLE): Z-Y: %.3f radians\n\r", myControlVariables.curThetaY);

//			  float angle_deg_x = myControlVariables.curThetaX * 180.0f / M_PI;
//			  float angle_deg_y = myControlVariables.curThetaY * 180.0f / M_PI;
//
//			  printf("(ANGLE): Z-X: %.3f degrees\n\r", angle_deg_x);
//			  printf("(ANGLE): Z-Y: %.3f degrees\n\r", angle_deg_y);
//
//			  HAL_Delay(200);

			  // Deadband
			  if(fabsf(myControlVariables.curThetaX) < DEADBAND)
			  {
				  myControlVariables.curThetaX = 0.0f;
				  myControlVariables.integralX = 0.0f;
			  }
			  if(fabsf(myControlVariables.curThetaY) < DEADBAND)
			  {
				  myControlVariables.curThetaY = 0.0f;
				  myControlVariables.integralY = 0.0f;
			  }

			  // --- Integral Control ---
			  // Compute the integral / accumulation of error
			  myControlVariables.integralX += 0.5 * (myControlVariables.curThetaX + myControlVariables.prevThetaX) * dt;
			  myControlVariables.integralY += 0.5 * (myControlVariables.curThetaY + myControlVariables.prevThetaY) * dt;

			  // anti-windup: clamp integrals  --> TODO: Later implement: if (velocity saturated) do not integrate
			  if (myControlVariables.integralX > MAX_INTEGRAL) myControlVariables.integralX = MAX_INTEGRAL;
			  if (myControlVariables.integralX < MIN_INTEGRAL) myControlVariables.integralX = MIN_INTEGRAL;
			  if (myControlVariables.integralY > MAX_INTEGRAL) myControlVariables.integralY = MAX_INTEGRAL;
			  if (myControlVariables.integralY < MIN_INTEGRAL) myControlVariables.integralY = MIN_INTEGRAL;

			  // --- Derivative Control ---
			  theta_dotX = (myControlVariables.curThetaX - myControlVariables.prevThetaX) / dt;
			  theta_dotY = (myControlVariables.curThetaY - myControlVariables.prevThetaY) / dt;

			  // u = Kp * cur_theta + Ki * 0.5 * [cur_theta + prev_theta] * Control_Loop_Time ---> the 0.5 factor in the second term comes from the trapezoid rule
			  myControlVariables.curInputU_X = (K_P_X * myControlVariables.curThetaX) + (K_I_X * myControlVariables.integralX) + (K_D_X * theta_dotX); // Use negative to oppose the tilt
			  myControlVariables.curInputU_Y = (K_P_Y * myControlVariables.curThetaY) + (K_I_Y * myControlVariables.integralY) + (K_D_Y * theta_dotY); // Use negative to oppose the tilt

			  // Accel = (V2 - V1) / (CONTROL_LOOP_TIME) ---> V2 = Accel * CONTROL_LOOP_TIME + V1

			  myControlVariables.curCommandedCartVelocityX = myControlVariables.curInputU_X;
			  myControlVariables.curCommandedCartVelocityY = myControlVariables.curInputU_Y;

//			  myControlVariables.curCommandedCartVelocityX = (myControlVariables.curInputU_X * dt) + myControlVariables.prevCommandedCartVelocityX;
//			  myControlVariables.curCommandedCartVelocityY = (myControlVariables.curInputU_Y * dt) + myControlVariables.prevCommandedCartVelocityY;

			  // --- clamp velocities to safe range ---
			  if (myControlVariables.curCommandedCartVelocityX > MAX_CART_VEL) myControlVariables.curCommandedCartVelocityX = MAX_CART_VEL;
			  if (myControlVariables.curCommandedCartVelocityX < MIN_CART_VEL) myControlVariables.curCommandedCartVelocityX = MIN_CART_VEL;
			  if (myControlVariables.curCommandedCartVelocityY > MAX_CART_VEL) myControlVariables.curCommandedCartVelocityY = MAX_CART_VEL;
			  if (myControlVariables.curCommandedCartVelocityY < MIN_CART_VEL) myControlVariables.curCommandedCartVelocityY = MIN_CART_VEL;

			  // Send Commands to Motors
			  omni_drive(myControlVariables.curCommandedCartVelocityX, myControlVariables.curCommandedCartVelocityY, 0.0f);

			  // Update previous values
			  myControlVariables.prevThetaX = myControlVariables.curThetaX;
			  myControlVariables.prevThetaY = myControlVariables.curThetaY;

			  // TODO: Do we need to save the previous inputs U?
			  myControlVariables.prevInputU_X = myControlVariables.curInputU_X;
			  myControlVariables.prevInputU_Y = myControlVariables.curInputU_Y;

			  myControlVariables.prevCommandedCartVelocityX = myControlVariables.curCommandedCartVelocityX;
			  myControlVariables.prevCommandedCartVelocityY = myControlVariables.curCommandedCartVelocityY;

		  }
	  }

    /* USER CODE END WHILE */

  }
}

void SystemClock_Config(void)
{
  RCC_OscInitTypeDef RCC_OscInitStruct = {0};
  RCC_ClkInitTypeDef RCC_ClkInitStruct = {0};

  /** Configure the main internal regulator output voltage
  */
  __HAL_RCC_PWR_CLK_ENABLE();
  __HAL_PWR_VOLTAGESCALING_CONFIG(PWR_REGULATOR_VOLTAGE_SCALE2);

  /** Initializes the RCC Oscillators according to the specified parameters
  * in the RCC_OscInitTypeDef structure.
  */
  RCC_OscInitStruct.OscillatorType = RCC_OSCILLATORTYPE_HSI;
  RCC_OscInitStruct.HSIState = RCC_HSI_ON;
  RCC_OscInitStruct.HSICalibrationValue = RCC_HSICALIBRATION_DEFAULT;
  RCC_OscInitStruct.PLL.PLLState = RCC_PLL_ON;
  RCC_OscInitStruct.PLL.PLLSource = RCC_PLLSOURCE_HSI;
  RCC_OscInitStruct.PLL.PLLM = 16;
  RCC_OscInitStruct.PLL.PLLN = 320;
  RCC_OscInitStruct.PLL.PLLP = RCC_PLLP_DIV4;
  RCC_OscInitStruct.PLL.PLLQ = 7;
  if (HAL_RCC_OscConfig(&RCC_OscInitStruct) != HAL_OK)
  {
    Error_Handler();
  }

  /** Initializes the CPU, AHB and APB buses clocks
  */
  RCC_ClkInitStruct.ClockType = RCC_CLOCKTYPE_HCLK|RCC_CLOCKTYPE_SYSCLK
                              |RCC_CLOCKTYPE_PCLK1|RCC_CLOCKTYPE_PCLK2;
  RCC_ClkInitStruct.SYSCLKSource = RCC_SYSCLKSOURCE_PLLCLK;
  RCC_ClkInitStruct.AHBCLKDivider = RCC_SYSCLK_DIV1;
  RCC_ClkInitStruct.APB1CLKDivider = RCC_HCLK_DIV2;
  RCC_ClkInitStruct.APB2CLKDivider = RCC_HCLK_DIV2;

  if (HAL_RCC_ClockConfig(&RCC_ClkInitStruct, FLASH_LATENCY_2) != HAL_OK)
  {
    Error_Handler();
  }
}

static void MX_ADC1_Init(void)
{

  ADC_ChannelConfTypeDef sConfig = {0};
  ADC_InjectionConfTypeDef sConfigInjected = {0};

  /** Configure the global features of the ADC (Clock, Resolution, Data Alignment and number of conversion)
  */
  hadc1.Instance = ADC1;
  hadc1.Init.ClockPrescaler = ADC_CLOCK_SYNC_PCLK_DIV2;
  hadc1.Init.Resolution = ADC_RESOLUTION_12B;
  hadc1.Init.ScanConvMode = ENABLE;
  hadc1.Init.ContinuousConvMode = ENABLE;
  hadc1.Init.DiscontinuousConvMode = DISABLE;
  hadc1.Init.ExternalTrigConvEdge = ADC_EXTERNALTRIGCONVEDGE_NONE;
  hadc1.Init.ExternalTrigConv = ADC_SOFTWARE_START;
  hadc1.Init.DataAlign = ADC_DATAALIGN_RIGHT;
  hadc1.Init.NbrOfConversion = 2;
  hadc1.Init.DMAContinuousRequests = ENABLE;
  hadc1.Init.EOCSelection = ADC_EOC_SEQ_CONV;
  if (HAL_ADC_Init(&hadc1) != HAL_OK)
  {
    Error_Handler();
  }

  /** Configure for the selected ADC regular channel its corresponding rank in the sequencer and its sample time.
  */
  sConfig.Channel = ADC_CHANNEL_0;
  sConfig.Rank = 1;
  sConfig.SamplingTime = ADC_SAMPLETIME_3CYCLES;
  if (HAL_ADC_ConfigChannel(&hadc1, &sConfig) != HAL_OK)
  {
    Error_Handler();
  }

  /** Configure for the selected ADC regular channel its corresponding rank in the sequencer and its sample time.
  */
  sConfig.Channel = ADC_CHANNEL_1;
  sConfig.Rank = 2;
  if (HAL_ADC_ConfigChannel(&hadc1, &sConfig) != HAL_OK)
  {
    Error_Handler();
  }

  /** Configures for the selected ADC injected channel its corresponding rank in the sequencer and its sample time
  */
  sConfigInjected.InjectedChannel = ADC_CHANNEL_0;
  sConfigInjected.InjectedRank = 1;
  sConfigInjected.InjectedNbrOfConversion = 2;
  sConfigInjected.InjectedSamplingTime = ADC_SAMPLETIME_3CYCLES;
  sConfigInjected.ExternalTrigInjecConvEdge = ADC_EXTERNALTRIGINJECCONVEDGE_NONE;
  sConfigInjected.ExternalTrigInjecConv = ADC_INJECTED_SOFTWARE_START;
  sConfigInjected.AutoInjectedConv = DISABLE;
  sConfigInjected.InjectedDiscontinuousConvMode = DISABLE;
  sConfigInjected.InjectedOffset = 0;
  if (HAL_ADCEx_InjectedConfigChannel(&hadc1, &sConfigInjected) != HAL_OK)
  {
    Error_Handler();
  }

  /** Configures for the selected ADC injected channel its corresponding rank in the sequencer and its sample time
  */
  sConfigInjected.InjectedChannel = ADC_CHANNEL_1;
  sConfigInjected.InjectedRank = 2;
  if (HAL_ADCEx_InjectedConfigChannel(&hadc1, &sConfigInjected) != HAL_OK)
  {
    Error_Handler();
  }

}

static void MX_I2C1_Init(void)
{

  hi2c1.Instance = I2C1;
  hi2c1.Init.ClockSpeed = 100000;
  hi2c1.Init.DutyCycle = I2C_DUTYCYCLE_2;
  hi2c1.Init.OwnAddress1 = 0;
  hi2c1.Init.AddressingMode = I2C_ADDRESSINGMODE_7BIT;
  hi2c1.Init.DualAddressMode = I2C_DUALADDRESS_DISABLE;
  hi2c1.Init.OwnAddress2 = 0;
  hi2c1.Init.GeneralCallMode = I2C_GENERALCALL_DISABLE;
  hi2c1.Init.NoStretchMode = I2C_NOSTRETCH_DISABLE;
  if (HAL_I2C_Init(&hi2c1) != HAL_OK)
  {
    Error_Handler();
  }

}

static void MX_SPI1_Init(void)
{

  /* SPI1 parameter configuration*/
  hspi1.Instance = SPI1;
  hspi1.Init.Mode = SPI_MODE_MASTER;
  hspi1.Init.Direction = SPI_DIRECTION_2LINES;
  hspi1.Init.DataSize = SPI_DATASIZE_8BIT;
  hspi1.Init.CLKPolarity = SPI_POLARITY_HIGH;
  hspi1.Init.CLKPhase = SPI_PHASE_2EDGE;
  hspi1.Init.NSS = SPI_NSS_SOFT;
  hspi1.Init.BaudRatePrescaler = SPI_BAUDRATEPRESCALER_16;
  hspi1.Init.FirstBit = SPI_FIRSTBIT_MSB;
  hspi1.Init.TIMode = SPI_TIMODE_DISABLE;
  hspi1.Init.CRCCalculation = SPI_CRCCALCULATION_DISABLE;
  hspi1.Init.CRCPolynomial = 10;
  if (HAL_SPI_Init(&hspi1) != HAL_OK)
  {
    Error_Handler();
  }

}

static void MX_SPI2_Init(void)
{

  /* SPI2 parameter configuration*/
  hspi2.Instance = SPI2;
  hspi2.Init.Mode = SPI_MODE_MASTER;
  hspi2.Init.Direction = SPI_DIRECTION_2LINES;
  hspi2.Init.DataSize = SPI_DATASIZE_8BIT;
  hspi2.Init.CLKPolarity = SPI_POLARITY_HIGH;
  hspi2.Init.CLKPhase = SPI_PHASE_2EDGE;
  hspi2.Init.NSS = SPI_NSS_SOFT;
  hspi2.Init.BaudRatePrescaler = SPI_BAUDRATEPRESCALER_16;
  hspi2.Init.FirstBit = SPI_FIRSTBIT_MSB;
  hspi2.Init.TIMode = SPI_TIMODE_DISABLE;
  hspi2.Init.CRCCalculation = SPI_CRCCALCULATION_DISABLE;
  hspi2.Init.CRCPolynomial = 10;
  if (HAL_SPI_Init(&hspi2) != HAL_OK)
  {
    Error_Handler();
  }

}

static void MX_USART1_UART_Init(void)
{

  huart1.Instance = USART1;
  huart1.Init.BaudRate = 115200;
  huart1.Init.WordLength = UART_WORDLENGTH_8B;
  huart1.Init.StopBits = UART_STOPBITS_1;
  huart1.Init.Parity = UART_PARITY_NONE;
  huart1.Init.Mode = UART_MODE_TX_RX;
  huart1.Init.HwFlowCtl = UART_HWCONTROL_NONE;
  huart1.Init.OverSampling = UART_OVERSAMPLING_16;
  if (HAL_UART_Init(&huart1) != HAL_OK)
  {
    Error_Handler();
  }

}

static void MX_USART2_UART_Init(void)
{

  huart2.Instance = USART2;
  huart2.Init.BaudRate = 115200;
  huart2.Init.WordLength = UART_WORDLENGTH_8B;
  huart2.Init.StopBits = UART_STOPBITS_1;
  huart2.Init.Parity = UART_PARITY_NONE;
  huart2.Init.Mode = UART_MODE_TX_RX;
  huart2.Init.HwFlowCtl = UART_HWCONTROL_NONE;
  huart2.Init.OverSampling = UART_OVERSAMPLING_16;
  if (HAL_UART_Init(&huart2) != HAL_OK)
  {
    Error_Handler();
  }

}

static void MX_DMA_Init(void)
{

  /* DMA controller clock enable */
  __HAL_RCC_DMA2_CLK_ENABLE();
  __HAL_RCC_DMA1_CLK_ENABLE();

  /* DMA interrupt init */
  /* DMA1_Stream3_IRQn interrupt configuration */
  HAL_NVIC_SetPriority(DMA1_Stream3_IRQn, 0, 0);
  HAL_NVIC_EnableIRQ(DMA1_Stream3_IRQn);
  /* DMA1_Stream4_IRQn interrupt configuration */
  HAL_NVIC_SetPriority(DMA1_Stream4_IRQn, 0, 0);
  HAL_NVIC_EnableIRQ(DMA1_Stream4_IRQn);
  /* DMA2_Stream0_IRQn interrupt configuration */
  HAL_NVIC_SetPriority(DMA2_Stream0_IRQn, 0, 0);
  HAL_NVIC_EnableIRQ(DMA2_Stream0_IRQn);
  /* DMA2_Stream3_IRQn interrupt configuration */
  HAL_NVIC_SetPriority(DMA2_Stream3_IRQn, 0, 0);
  HAL_NVIC_EnableIRQ(DMA2_Stream3_IRQn);
  /* DMA2_Stream4_IRQn interrupt configuration */
  HAL_NVIC_SetPriority(DMA2_Stream4_IRQn, 0, 0);
  HAL_NVIC_EnableIRQ(DMA2_Stream4_IRQn);

}

static void MX_GPIO_Init(void)
{
  GPIO_InitTypeDef GPIO_InitStruct = {0};

  /* GPIO Ports Clock Enable */
  __HAL_RCC_GPIOC_CLK_ENABLE();
  __HAL_RCC_GPIOH_CLK_ENABLE();
  __HAL_RCC_GPIOA_CLK_ENABLE();
  __HAL_RCC_GPIOB_CLK_ENABLE();

  /*Configure GPIO pin Output Level */
  HAL_GPIO_WritePin(LED_GPIO_Port, LED_Pin, GPIO_PIN_RESET);

  /*Configure GPIO pin Output Level */
  HAL_GPIO_WritePin(GPIOA, STEPPER_SPI1_CS_Pin|STEPPER_SPI2_CS_Pin, GPIO_PIN_RESET);

  /*Configure GPIO pin Output Level */
  HAL_GPIO_WritePin(STEPPER_RST_GPIO_Port, STEPPER_RST_Pin, GPIO_PIN_RESET);

  /*Configure GPIO pin : LED_Pin */
  GPIO_InitStruct.Pin = LED_Pin;
  GPIO_InitStruct.Mode = GPIO_MODE_OUTPUT_PP;
  GPIO_InitStruct.Pull = GPIO_NOPULL;
  GPIO_InitStruct.Speed = GPIO_SPEED_FREQ_LOW;
  HAL_GPIO_Init(LED_GPIO_Port, &GPIO_InitStruct);

  /*Configure GPIO pin : STEPPER_FLG_Pin */
  GPIO_InitStruct.Pin = STEPPER_FLG_Pin;
  GPIO_InitStruct.Mode = GPIO_MODE_INPUT;
  GPIO_InitStruct.Pull = GPIO_NOPULL;
  HAL_GPIO_Init(STEPPER_FLG_GPIO_Port, &GPIO_InitStruct);

  /*Configure GPIO pins : STEPPER_SPI1_CS_Pin STEPPER_SPI2_CS_Pin */
  GPIO_InitStruct.Pin = STEPPER_SPI1_CS_Pin|STEPPER_SPI2_CS_Pin;
  GPIO_InitStruct.Mode = GPIO_MODE_OUTPUT_PP;
  GPIO_InitStruct.Pull = GPIO_NOPULL;
  GPIO_InitStruct.Speed = GPIO_SPEED_FREQ_LOW;
  HAL_GPIO_Init(GPIOA, &GPIO_InitStruct);

  /*Configure GPIO pin : USER_BUTTON_Pin */
  GPIO_InitStruct.Pin = USER_BUTTON_Pin;
  GPIO_InitStruct.Mode = GPIO_MODE_IT_RISING;
  GPIO_InitStruct.Pull = GPIO_PULLDOWN;
  HAL_GPIO_Init(USER_BUTTON_GPIO_Port, &GPIO_InitStruct);

  /*Configure GPIO pin : IMU_INT_Pin */
  GPIO_InitStruct.Pin = IMU_INT_Pin;
  GPIO_InitStruct.Mode = GPIO_MODE_IT_RISING;
  GPIO_InitStruct.Pull = GPIO_NOPULL;
  HAL_GPIO_Init(IMU_INT_GPIO_Port, &GPIO_InitStruct);

  /*Configure GPIO pin : STEPPER_RST_Pin */
  GPIO_InitStruct.Pin = STEPPER_RST_Pin;
  GPIO_InitStruct.Mode = GPIO_MODE_OUTPUT_PP;
  GPIO_InitStruct.Pull = GPIO_NOPULL;
  GPIO_InitStruct.Speed = GPIO_SPEED_FREQ_LOW;
  HAL_GPIO_Init(STEPPER_RST_GPIO_Port, &GPIO_InitStruct);

  /* EXTI interrupt init*/
  HAL_NVIC_SetPriority(EXTI0_IRQn, 0, 0);
  HAL_NVIC_EnableIRQ(EXTI0_IRQn);

  HAL_NVIC_SetPriority(EXTI4_IRQn, 0, 0);
  HAL_NVIC_EnableIRQ(EXTI4_IRQn);

/* USER CODE BEGIN MX_GPIO_Init_2 */

  HAL_GPIO_WritePin(STEPPER_SPI2_CS_GPIO_Port, STEPPER_SPI1_CS_Pin, GPIO_PIN_SET);
/* USER CODE END MX_GPIO_Init_2 */
}

void Error_Handler(void)
{
  __disable_irq();
  while (1)
  {
  }
}
